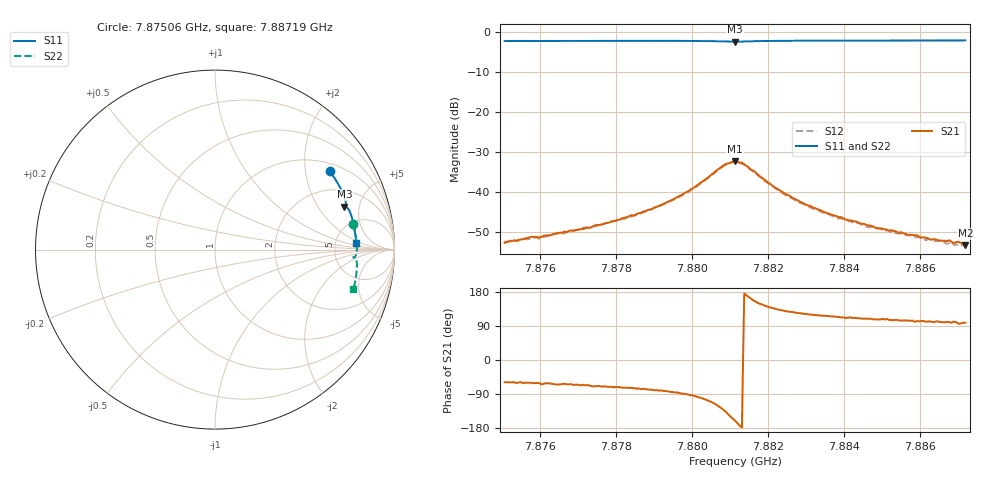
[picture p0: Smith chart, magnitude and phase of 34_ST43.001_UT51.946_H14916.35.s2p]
#  HZ  S  DB  R  50.00
! Rohde & Schwarz Vector Network Analyzer
! Rohde-Schwarz,ZNB20-2Port,1311601062101988,3.16
! Created: UTC 1/12/2023, 6:31:38 PM
! freq[Hz]  db:S11  ang:S11  db:S21  ang:S21  db:S12  ang:S12  db:S22  ang:S22
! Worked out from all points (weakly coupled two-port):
!   201 points, 7.87506 GHz to 7.88719 GHz, reference 50 ohm
!   highest |S21| = -32.39 dB at 7.88113 GHz (marker M1); lowest = -53.4 dB at 7.88719 GHz (marker M2)
!   lowest |S11| = -2.4 dB at 7.88113 GHz (marker M3), VSWR 7.33, Z = 156 + j177 ohm
!   |S11| at or under -10 dB: nowhere
!   |S22| runs from -2.3 to -1.9 dB; largest |S21 - S12| = 0.0018
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7.875061e9  -2.22 34.4  -52.79 -58.6  -52.37 -61.8  -2.13 10.4
7.875121e9  -2.23 34.2  -52.55 -58.9  -52.67 -62.1  -2.13 10.2
7.875788e9  -2.21 32.4  -51.26 -61.3  -51.52 -63.5  -2.12 8.7
7.87597e9  -2.21 31.9  -51.44 -60.7  -51.77 -66.5  -2.11 8.2
7.877123e9  -2.19 28.8  -49.31 -65.4  -49.05 -69.9  -2.08 5.6
7.878215e9  -2.18 25.8  -46.52 -73.5  -46.82 -76.4  -2.05 3.0
7.879124e9  -2.18 23.2  -43.50 -80.5  -43.63 -83.7  -2.04 0.9
7.879913e9  -2.19 20.9  -39.77 -91.9  -39.96 -95.3  -2.05 -1.1
7.880883e9  -2.35 18.4  -33.04 -136.5  -33.24 -140.0  -2.21 -3.3
7.881126e9  -2.39 18.4  -32.39 -159.9  -32.55 -163.8  -2.26 -3.2
7.881308e9  -2.36 18.4  -32.66 -178.0  -33.00 178.0  -2.23 -3.1
7.882157e9  -2.17 16.4  -38.80 135.8  -38.98 132.2  -2.04 -4.7
7.883188e9  -2.12 13.5  -44.01 119.4  -44.25 116.7  -1.98 -7.1
7.883855e9  -2.11 11.6  -46.32 113.5  -46.73 110.8  -1.96 -8.7
7.88519e9  -2.09 8.1  -49.75 105.1  -50.02 102.8  -1.94 -11.7
7.88616e9  -2.09 5.5  -51.51 100.8  -52.16 99.9  -1.92 -13.8
7.886281e9  -2.08 5.2  -52.00 101.5  -51.98 98.3  -1.92 -14.0
7.886706e9  -2.08 4.1  -52.36 100.6  -53.06 98.0  -1.92 -15.0
7.886827e9  -2.08 3.8  -52.53 98.6  -52.54 96.1  -1.92 -15.3
7.886888e9  -2.08 3.6  -52.86 101.5  -53.33 96.5  -1.92 -15.4
7.887009e9  -2.08 3.3  -52.52 95.6  -53.21 94.6  -1.92 -15.6
7.887191e9  -2.08 2.8  -53.39 98.1  -53.62 96.1  -1.91 -16.0
